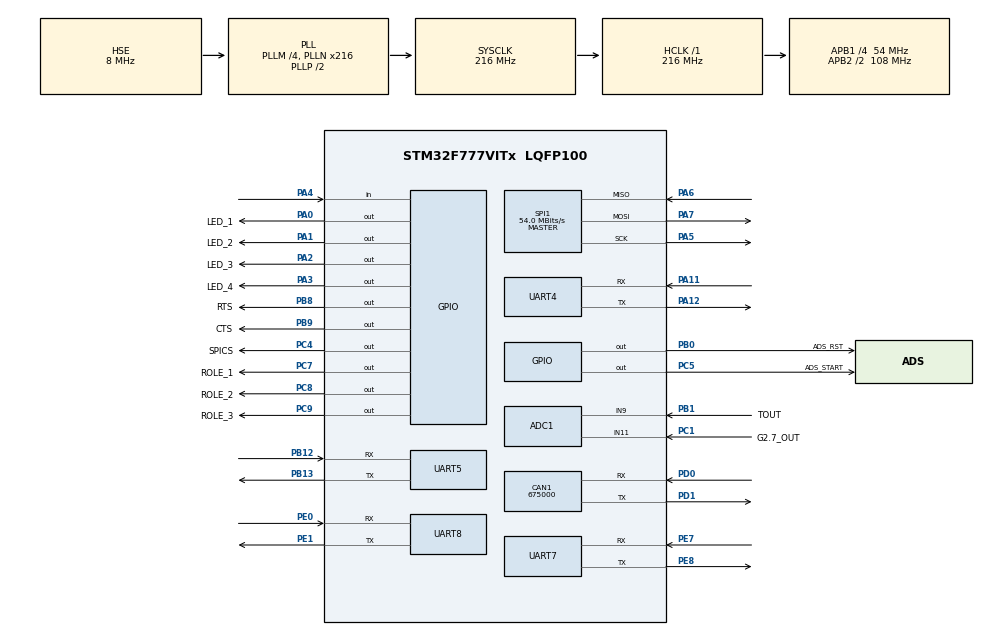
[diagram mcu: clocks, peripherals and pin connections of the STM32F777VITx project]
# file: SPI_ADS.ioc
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ADC1.Channel-0\#ChannelRegularConversion=ADC_CHANNEL_11
ADC1.Channel-1\#ChannelRegularConversion=ADC_CHANNEL_9
ADC1.ContinuousConvMode=ENABLE
ADC1.DMAContinuousRequests=ENABLE
ADC1.NbrOfConversion=2
ADC1.NbrOfConversionFlag=1
ADC1.Rank-0\#ChannelRegularConversion=1
ADC1.Rank-1\#ChannelRegularConversion=2
ADC1.SamplingTime-0\#ChannelRegularConversion=ADC_SAMPLETIME_480CYCLES
ADC1.SamplingTime-1\#ChannelRegularConversion=ADC_SAMPLETIME_480CYCLES
ADC1.ScanConvMode=ADC_SCAN_ENABLE
ADC1.master=1
CAN1.BS1=CAN_BS1_2TQ
CAN1.BS2=CAN_BS2_2TQ
CAN1.CalculateBaudRate=675000
CAN1.CalculateTimeBit=1481.48
CAN1.CalculateTimeQuantum=296.2962962962963
Dma.ADC1.0.Direction=DMA_PERIPH_TO_MEMORY
Dma.ADC1.0.FIFOMode=DMA_FIFOMODE_DISABLE
Dma.ADC1.0.Instance=DMA2_Stream0
Dma.ADC1.0.MemDataAlignment=DMA_MDATAALIGN_WORD
Dma.ADC1.0.MemInc=DMA_MINC_ENABLE
Dma.ADC1.0.Mode=DMA_CIRCULAR
Dma.ADC1.0.PeriphDataAlignment=DMA_PDATAALIGN_WORD
Dma.ADC1.0.PeriphInc=DMA_PINC_DISABLE
Dma.ADC1.0.Priority=DMA_PRIORITY_LOW
Dma.Request0=ADC1
Mcu.Family=STM32F7
Mcu.Name=STM32F777VITx
Mcu.Package=LQFP100
NVIC.DMA2_Stream0_IRQn=true\:0\:0\:false\:false\:true\:false\:true
NVIC.PriorityGroup=NVIC_PRIORITYGROUP_4
PA0/WKUP.GPIO_Label=LED_1
PA0/WKUP.Signal=GPIO_Output
PA1.GPIO_Label=LED_2
PA1.Signal=GPIO_Output
PA11.Mode=Asynchronous
PA11.Signal=UART4_RX
PA12.Mode=Asynchronous
PA12.Signal=UART4_TX
PA13.Mode=Serial_Wire
PA13.Signal=SYS_JTMS-SWDIO
PA14.Mode=Serial_Wire
PA14.Signal=SYS_JTCK-SWCLK
PA2.GPIO_Label=LED_3
PA2.Signal=GPIO_Output
PA3.GPIO_Label=LED_4
PA3.Signal=GPIO_Output
PA4.Signal=GPIO_Input
PA5.Mode=Full_Duplex_Master
PA5.Signal=SPI1_SCK
PA6.Mode=Full_Duplex_Master
PA6.Signal=SPI1_MISO
PA7.Mode=Full_Duplex_Master
PA7.Signal=SPI1_MOSI
PB0.GPIO_Label=ADS_RST
PB0.Signal=GPIO_Output
PB1.GPIO_Label=TOUT
PB1.Signal=ADCx_IN9
PB12.Mode=Asynchronous
PB12.Signal=UART5_RX
PB13.Mode=Asynchronous
PB13.Signal=UART5_TX
PB8.GPIO_Label=RTS
PB8.Signal=GPIO_Output
PB9.GPIO_Label=CTS
PB9.Signal=GPIO_Output
PC1.GPIO_Label=G2.7_OUT
PC1.Signal=ADCx_IN11
PC4.GPIO_Label=SPICS
PC4.Signal=GPIO_Output
PC5.GPIO_Label=ADS_START
PC5.Signal=GPIO_Output
PC7.GPIO_Label=ROLE_1
PC7.Signal=GPIO_Output
PC8.GPIO_Label=ROLE_2
PC8.Signal=GPIO_Output
PC9.GPIO_Label=ROLE_3
PC9.Signal=GPIO_Output
PD0.Mode=CAN_Activate
PD0.Signal=CAN1_RX
PD1.Mode=CAN_Activate
PD1.Signal=CAN1_TX
PE0.Mode=Asynchronous
PE0.Signal=UART8_RX
PE1.Mode=Asynchronous
PE1.Signal=UART8_TX
PE7.Mode=Asynchronous
PE7.Signal=UART7_RX
PE8.Mode=Asynchronous
PE8.Signal=UART7_TX
PH0/OSC_IN.Mode=HSE-External-Oscillator
PH0/OSC_IN.Signal=RCC_OSC_IN
PH1/OSC_OUT.Mode=HSE-External-Oscillator
PH1/OSC_OUT.Signal=RCC_OSC_OUT
ProjectManager.HeapSize=0x200
ProjectManager.StackSize=0x400
ProjectManager.TargetToolchain=STM32CubeIDE
RCC.AHBFreq_Value=216000000
RCC.APB1CLKDivider=RCC_HCLK_DIV4
RCC.APB1Freq_Value=54000000
RCC.APB1TimFreq_Value=108000000
RCC.APB2CLKDivider=RCC_HCLK_DIV2
RCC.APB2Freq_Value=108000000
RCC.APB2TimFreq_Value=216000000
RCC.CortexFreq_Value=216000000
RCC.HCLKFreq_Value=216000000
RCC.HSE_VALUE=8000000
RCC.HSI_VALUE=16000000
RCC.LSE_VALUE=32768
RCC.PLLM=4
RCC.PLLN=216
RCC.PLLSourceVirtual=RCC_PLLSOURCE_HSE
RCC.SYSCLKFreq_VALUE=216000000
RCC.SYSCLKSource=RCC_SYSCLKSOURCE_PLLCLK
RCC.USBFreq_Value=216000000
RCC.VCOOutputFreq_Value=432000000
RTC.Format=RTC_FORMAT_BIN
RTC.Hours=0
RTC.Minutes=0
RTC.Seconds=0
RTC.Year=20
SH.ADCx_IN11.0=ADC1_IN11,IN11
SH.ADCx_IN9.0=ADC1_IN9,IN9
SPI1.BaudRatePrescaler=SPI_BAUDRATEPRESCALER_2
SPI1.CalculateBaudRate=54.0 MBits/s
SPI1.DataSize=SPI_DATASIZE_8BIT
SPI1.Direction=SPI_DIRECTION_2LINES
SPI1.Mode=SPI_MODE_MASTER
SPI1.VirtualType=VM_MASTER
VP_RTC_VS_RTC_Activate.Mode=RTC_Enabled
VP_RTC_VS_RTC_Calendar.Mode=RTC_Calendar
board=custom

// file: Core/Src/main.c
/* USER CODE BEGIN Header */
/**
  ******************************************************************************
  * @file           : main.c
  * @brief          : Main program body
  ******************************************************************************
  * @attention
  *
  * <h2><center>&copy; Copyright (c) 2020 STMicroelectronics.
  * All rights reserved.</center></h2>
  *
  * This software component is licensed by ST under BSD 3-Clause license,
  * the "License"; You may not use this file except in compliance with the
  * License. You may obtain a copy of the License at:
  *                        opensource.org/licenses/BSD-3-Clause
  *
  ******************************************************************************
  */
/* USER CODE END Header */
#include "main.h"

ADC_HandleTypeDef hadc1;
DMA_HandleTypeDef hdma_adc1;

CAN_HandleTypeDef hcan1;

RTC_HandleTypeDef hrtc;

SPI_HandleTypeDef hspi1;

UART_HandleTypeDef huart4;
UART_HandleTypeDef huart5;
UART_HandleTypeDef huart7;
UART_HandleTypeDef huart8;

void SystemClock_Config(void);
static void MX_GPIO_Init(void);
static void MX_DMA_Init(void);
static void MX_ADC1_Init(void);
static void MX_CAN1_Init(void);
static void MX_SPI1_Init(void);
static void MX_UART4_Init(void);
static void MX_UART5_Init(void);
static void MX_UART7_Init(void);
static void MX_UART8_Init(void);
static void MX_RTC_Init(void);

int main(void)
{
  /* USER CODE BEGIN 1 */
uint8_t CONFIG0 = 0x80; /* 10000000 BİT 0 2 5 4 RBIAS?   */

uint8_t CONFIG1 = 0x48;      /* 01001011 3 2 7 ? */

uint8_t CONFIG2 = 0x40;           /* 01000000 */

uint32_t GerSic[2]; // gerilim ve sıcaklık adcleri

uint8_t RXADS[4];
float Gerilim, ShuntSicaklik; //gerilim bölücü gerilimi ve shunt direnc sıcaklığı
int BataryaSicaklik[16],MaxSic; // tüm sıcaklık sersörlerini karşılaştırma
int DRDY;
int ChecksumGelen, ChecksumBulunan,ADSGelenVeri,PreCurrent;
float Current;
RTC_TimeTypeDef sTime;
RTC_DateTypeDef sDate;
uint32_t milisaniye,saniye,dakika,saat,msara,mstoplam,msson;
float Toplam_Tuketim,Ara_Tuketim;
#define C_DS 2500 //DATASHEET E GÖRE HESAPLANACAK
#define nC 100 // CHARGE MODUNDA KATSAYI ŞARJ VERİMLİLİĞİ = 	Cdischarge , rate min / Ccharge , rate max
#define nD 100 // DISCHARGE MODUNDA KATSAYI DISCHARGE VERİMLİLİĞİ = I1T1 + I2T2 / Cmax
float DoD, DDoD,ilkDoD,SOC,SOH;
#define Vmin 100
#define Vmax 135
  /* USER CODE END 1 */

  /* MCU Configuration--------------------------------------------------------*/

  /* Reset of all peripherals, Initializes the Flash interface and the Systick. */
  HAL_Init();

  /* USER CODE BEGIN Init */

HAL_ADC_Start_DMA(&hadc1, GerSic, 2); // dma ile adc başlatıldı

uint8_t calcChecksum(uint8_t* data, uint32_t length) //ADS için checksum function
{
uint32_t result = 0;
uint32_t i;
for(i = 0; i < length; i++)
result += data[i]; // Add conversion data bytes together
result += 0x9B; // Add constant
return (uint8_t) result;
}

void CapasityCalc()
{
	       HAL_RTC_GetTime(&hrtc,&sTime,RTC_FORMAT_BIN);
			HAL_RTC_GetDate(&hrtc,&sDate,RTC_FORMAT_BIN); // Tarih ile ilgili çalisma yapilmasa dahi eklenmesi gereklidir.

			milisaniye=sTime.SubSeconds;
			saniye=sTime.Seconds;
			dakika=sTime.Minutes;
			saat=sTime.Hours;
			mstoplam=milisaniye+saniye*1000+dakika*60000+saat*3600000; //toplam süre milisaniyeye çevirildi
			msara=mstoplam-msson; // geçen süre hesaplandı

			msson=mstoplam;
			Ara_Tuketim=Current*Gerilim*msara; // anlık tüketim hesaplandı
			Toplam_Tuketim+=Ara_Tuketim;
			Toplam_Tuketim=Toplam_Tuketim/3600000; // watt/hour (Delta DoD)

}

void GerilimHesap() // batarya geriliminin hesaplandığı fonksiyon
{
Gerilim=GerSic[0]*0.0008056640625; //adc değerini gerilime çevirdik
Gerilim*=41.00041; // gerilim bölücü oranı ile çarparak gerçek değeri elde ettik

}

void Sicaklik() // shunt direncin sıcaklığını hesaplayan fonksiyon
{
	ShuntSicaklik=GerSic[1]*0.0008056640625; // adc değerini gerilime çevirdik
	ShuntSicaklik*=100; //dataheette gerek sıcaklık değeri için 100 çarpılması gerek

}

void ADSRead() // adsden akım verisi okuma
{
	DRDY= HAL_GPIO_ReadPin(GPIOA, GPIO_PIN_4);
	if (DRDY=0)
	{
		HAL_GPIO_WritePin(GPIOC, GPIO_PIN_4, GPIO_PIN_RESET); //CS LOJIK 0
		HAL_SPI_Receive(&hspi1, RXADS, 4, 100);               // SPI DAN AKIM VERİSİ ALDIK
		HAL_GPIO_WritePin(GPIOC, GPIO_PIN_4, GPIO_PIN_SET);   //CS LOJIK 1
	}
}

void ADSChecksumControl ()
{
 ChecksumGelen= RXADS[3];
 ADSGelenVeri= (int) RXADS[0]*100+ (int) RXADS[1]*10+ (int) RXADS[2];
 ChecksumBulunan= calcChecksum(ADSGelenVeri, 3);
if (ChecksumBulunan == ChecksumGelen)
{
	PreCurrent= ADSGelenVeri;
}
}
void Res()
{
	//res sıcaklığa göre ayarlanacak
}

void CalcCurrentVal ()
{
	Current=PreCurrent/100 ; // I = V/R

}

void CalcSOC()
{

 DDoD=Toplam_Tuketim*100/C_DS;
 if (Current>0) // dıscharge
 {
	 if (Gerilim<=Vmin)
	 {
		 HAL_GPIO_WritePin(GPIOC, GPIO_PIN_8, GPIO_PIN_SET);

	 }

	 else if (Gerilim> Vmin)
	 {
		 DoD=ilkDoD+ nD*DDoD;
         SOC=SOH - DoD;
	 }

 }
 else if (Current<0) //charge
 {

	 if(Gerilim== Vmax)
	 {
		 SOH=SOC-DoD;

	 }
	 else if (Gerilim<=Vmax)
	 {
		 DoD=ilkDoD+ nC*DDoD;
		 SOC=SOH-DoD;
	 }
 }

 SOC=SOH-DoD;
}

 void MaxBataryaSicaklik() //interrupt ile yapılacak

 {

	 for(int i=1; i<16; i++){

		 MaxSic = BataryaSicaklik[0];       //ilk sıcaklık max sıcaklık olur
		 if (MaxSic<BataryaSicaklik[i])     //eğer sonraki sıcaklık öncekinden büyükse maxsıc büyük değer olur
		 {

		    MaxSic=BataryaSicaklik[i];

		 }
	 }

	 if (MaxSic>=55)
	 {
		 HAL_GPIO_WritePin(GPIOC, GPIO_PIN_7, GPIO_PIN_SET); //SICAKLIK 55 İ GEÇTİ�?İNDE BUZZER ÇALI�?IR
	 }
	 else if (MaxSic>=70)
	 {
		 HAL_GPIO_WritePin(GPIOC, GPIO_PIN_8, GPIO_PIN_SET); //SICAKLIK 70 İ GEÇTİ�?İNDE ARAÇ KAPANIR
	 }
	 else if (MaxSic<55)
	 {
		 HAL_GPIO_WritePin(GPIOC, GPIO_PIN_7 | GPIO_PIN_8, GPIO_PIN_RESET); //SICAKLIK 55 DEN KÜÇÜKSE RÖLELER KAPALI
	 }
 }

  /* USER CODE END Init */

  /* Configure the system clock */
  SystemClock_Config();

  /* Initialize all configured peripherals */
  MX_GPIO_Init();
  MX_DMA_Init();
  MX_ADC1_Init();
  MX_CAN1_Init();
  MX_SPI1_Init();
  MX_UART4_Init();
  MX_UART5_Init();
  MX_UART7_Init();
  MX_UART8_Init();
  MX_RTC_Init();
  /* USER CODE BEGIN 2 */

  HAL_GPIO_WritePin(GPIOC, GPIO_PIN_5, GPIO_PIN_SET); // ADS START
  msson=0;//son süreyi sıfıra eşitledik

 HAL_GPIO_WritePin(GPIOC, GPIO_PIN_4, GPIO_PIN_RESET);

HAL_SPI_Transmit(&hspi1, &CONFIG0, 1, 100); //ADS CONFIG0 YAPILDI
HAL_SPI_Transmit(&hspi1, &CONFIG1, 1, 100); //ADS CONFIG1 YAPILDI
HAL_SPI_Transmit(&hspi1, &CONFIG2, 1, 100); //ADS CONFIG2 YAPILDI

HAL_GPIO_WritePin(GPIOC, GPIO_PIN_4, GPIO_PIN_SET);

//BQ CONFIG YAPILACAK

  /* USER CODE END 2 */

  /* Infinite loop */
  while (1)
  {

    /* USER CODE BEGIN 3 */

	     //BQ DAN VERİLER ALINACAK

	  MaxBataryaSicaklik();
	  GerilimHesap();
	  ADSRead();
	  ADSChecksumControl();
	  Sicaklik();
	  Res();
	  CalcCurrentVal();
	  if (Current<0)
	  {
		  //hücre dengelemeleri yapılacak
	  }
	  CapasityCalc();
	  CalcSOC();

  }
  /* USER CODE END 3 */
}

void SystemClock_Config(void)
{
  RCC_OscInitTypeDef RCC_OscInitStruct = {0};
  RCC_ClkInitTypeDef RCC_ClkInitStruct = {0};
  RCC_PeriphCLKInitTypeDef PeriphClkInitStruct = {0};

  /** Configure the main internal regulator output voltage
  */
  __HAL_RCC_PWR_CLK_ENABLE();
  __HAL_PWR_VOLTAGESCALING_CONFIG(PWR_REGULATOR_VOLTAGE_SCALE1);
  /** Initializes the RCC Oscillators according to the specified parameters
  * in the RCC_OscInitTypeDef structure.
  */
  RCC_OscInitStruct.OscillatorType = RCC_OSCILLATORTYPE_LSI|RCC_OSCILLATORTYPE_HSE;
  RCC_OscInitStruct.HSEState = RCC_HSE_ON;
  RCC_OscInitStruct.LSIState = RCC_LSI_ON;
  RCC_OscInitStruct.PLL.PLLState = RCC_PLL_ON;
  RCC_OscInitStruct.PLL.PLLSource = RCC_PLLSOURCE_HSE;
  RCC_OscInitStruct.PLL.PLLM = 4;
  RCC_OscInitStruct.PLL.PLLN = 216;
  RCC_OscInitStruct.PLL.PLLP = RCC_PLLP_DIV2;
  RCC_OscInitStruct.PLL.PLLQ = 2;
  if (HAL_RCC_OscConfig(&RCC_OscInitStruct) != HAL_OK)
  {
    Error_Handler();
  }
  /** Activate the Over-Drive mode
  */
  if (HAL_PWREx_EnableOverDrive() != HAL_OK)
  {
    Error_Handler();
  }
  /** Initializes the CPU, AHB and APB buses clocks
  */
  RCC_ClkInitStruct.ClockType = RCC_CLOCKTYPE_HCLK|RCC_CLOCKTYPE_SYSCLK
                              |RCC_CLOCKTYPE_PCLK1|RCC_CLOCKTYPE_PCLK2;
  RCC_ClkInitStruct.SYSCLKSource = RCC_SYSCLKSOURCE_PLLCLK;
  RCC_ClkInitStruct.AHBCLKDivider = RCC_SYSCLK_DIV1;
  RCC_ClkInitStruct.APB1CLKDivider = RCC_HCLK_DIV4;
  RCC_ClkInitStruct.APB2CLKDivider = RCC_HCLK_DIV2;

  if (HAL_RCC_ClockConfig(&RCC_ClkInitStruct, FLASH_LATENCY_7) != HAL_OK)
  {
    Error_Handler();
  }
  PeriphClkInitStruct.PeriphClockSelection = RCC_PERIPHCLK_RTC|RCC_PERIPHCLK_UART4
                              |RCC_PERIPHCLK_UART5|RCC_PERIPHCLK_UART7
                              |RCC_PERIPHCLK_UART8;
  PeriphClkInitStruct.RTCClockSelection = RCC_RTCCLKSOURCE_LSI;
  PeriphClkInitStruct.Uart4ClockSelection = RCC_UART4CLKSOURCE_PCLK1;
  PeriphClkInitStruct.Uart5ClockSelection = RCC_UART5CLKSOURCE_PCLK1;
  PeriphClkInitStruct.Uart7ClockSelection = RCC_UART7CLKSOURCE_PCLK1;
  PeriphClkInitStruct.Uart8ClockSelection = RCC_UART8CLKSOURCE_PCLK1;
  if (HAL_RCCEx_PeriphCLKConfig(&PeriphClkInitStruct) != HAL_OK)
  {
    Error_Handler();
  }
}

static void MX_ADC1_Init(void)
{

  ADC_ChannelConfTypeDef sConfig = {0};

  /** Configure the global features of the ADC (Clock, Resolution, Data Alignment and number of conversion)
  */
  hadc1.Instance = ADC1;
  hadc1.Init.ClockPrescaler = ADC_CLOCK_SYNC_PCLK_DIV4;
  hadc1.Init.Resolution = ADC_RESOLUTION_12B;
  hadc1.Init.ScanConvMode = ADC_SCAN_ENABLE;
  hadc1.Init.ContinuousConvMode = ENABLE;
  hadc1.Init.DiscontinuousConvMode = DISABLE;
  hadc1.Init.ExternalTrigConvEdge = ADC_EXTERNALTRIGCONVEDGE_NONE;
  hadc1.Init.ExternalTrigConv = ADC_SOFTWARE_START;
  hadc1.Init.DataAlign = ADC_DATAALIGN_RIGHT;
  hadc1.Init.NbrOfConversion = 2;
  hadc1.Init.DMAContinuousRequests = ENABLE;
  hadc1.Init.EOCSelection = ADC_EOC_SINGLE_CONV;
  if (HAL_ADC_Init(&hadc1) != HAL_OK)
  {
    Error_Handler();
  }
  /** Configure for the selected ADC regular channel its corresponding rank in the sequencer and its sample time.
  */
  sConfig.Channel = ADC_CHANNEL_11;
  sConfig.Rank = ADC_REGULAR_RANK_1;
  sConfig.SamplingTime = ADC_SAMPLETIME_480CYCLES;
  if (HAL_ADC_ConfigChannel(&hadc1, &sConfig) != HAL_OK)
  {
    Error_Handler();
  }
  /** Configure for the selected ADC regular channel its corresponding rank in the sequencer and its sample time.
  */
  sConfig.Channel = ADC_CHANNEL_9;
  sConfig.Rank = ADC_REGULAR_RANK_2;
  if (HAL_ADC_ConfigChannel(&hadc1, &sConfig) != HAL_OK)
  {
    Error_Handler();
  }

}

static void MX_CAN1_Init(void)
{

  hcan1.Instance = CAN1;
  hcan1.Init.Prescaler = 16;
  hcan1.Init.Mode = CAN_MODE_NORMAL;
  hcan1.Init.SyncJumpWidth = CAN_SJW_1TQ;
  hcan1.Init.TimeSeg1 = CAN_BS1_2TQ;
  hcan1.Init.TimeSeg2 = CAN_BS2_2TQ;
  hcan1.Init.TimeTriggeredMode = DISABLE;
  hcan1.Init.AutoBusOff = DISABLE;
  hcan1.Init.AutoWakeUp = DISABLE;
  hcan1.Init.AutoRetransmission = DISABLE;
  hcan1.Init.ReceiveFifoLocked = DISABLE;
  hcan1.Init.TransmitFifoPriority = DISABLE;
  if (HAL_CAN_Init(&hcan1) != HAL_OK)
  {
    Error_Handler();
  }

}

static void MX_RTC_Init(void)
{

  RTC_TimeTypeDef sTime = {0};
  RTC_DateTypeDef sDate = {0};

  /** Initialize RTC Only
  */
  hrtc.Instance = RTC;
  hrtc.Init.HourFormat = RTC_HOURFORMAT_24;
  hrtc.Init.AsynchPrediv = 127;
  hrtc.Init.SynchPrediv = 255;
  hrtc.Init.OutPut = RTC_OUTPUT_DISABLE;
  hrtc.Init.OutPutPolarity = RTC_OUTPUT_POLARITY_HIGH;
  hrtc.Init.OutPutType = RTC_OUTPUT_TYPE_OPENDRAIN;
  if (HAL_RTC_Init(&hrtc) != HAL_OK)
  {
    Error_Handler();
  }

  /** Initialize RTC and set the Time and Date
  */
  sTime.Hours = 0;
  sTime.Minutes = 0;
  sTime.Seconds = 0;
  sTime.DayLightSaving = RTC_DAYLIGHTSAVING_NONE;
  sTime.StoreOperation = RTC_STOREOPERATION_RESET;
  if (HAL_RTC_SetTime(&hrtc, &sTime, RTC_FORMAT_BIN) != HAL_OK)
  {
    Error_Handler();
  }
  sDate.WeekDay = RTC_WEEKDAY_MONDAY;
  sDate.Month = RTC_MONTH_JANUARY;
  sDate.Date = 1;
  sDate.Year = 20;

  if (HAL_RTC_SetDate(&hrtc, &sDate, RTC_FORMAT_BIN) != HAL_OK)
  {
    Error_Handler();
  }

}

static void MX_SPI1_Init(void)
{

  /* SPI1 parameter configuration*/
  hspi1.Instance = SPI1;
  hspi1.Init.Mode = SPI_MODE_MASTER;
  hspi1.Init.Direction = SPI_DIRECTION_2LINES;
  hspi1.Init.DataSize = SPI_DATASIZE_8BIT;
  hspi1.Init.CLKPolarity = SPI_POLARITY_LOW;
  hspi1.Init.CLKPhase = SPI_PHASE_1EDGE;
  hspi1.Init.NSS = SPI_NSS_SOFT;
  hspi1.Init.BaudRatePrescaler = SPI_BAUDRATEPRESCALER_2;
  hspi1.Init.FirstBit = SPI_FIRSTBIT_MSB;
  hspi1.Init.TIMode = SPI_TIMODE_DISABLE;
  hspi1.Init.CRCCalculation = SPI_CRCCALCULATION_DISABLE;
  hspi1.Init.CRCPolynomial = 7;
  hspi1.Init.CRCLength = SPI_CRC_LENGTH_DATASIZE;
  hspi1.Init.NSSPMode = SPI_NSS_PULSE_ENABLE;
  if (HAL_SPI_Init(&hspi1) != HAL_OK)
  {
    Error_Handler();
  }

}

static void MX_UART4_Init(void)
{

  huart4.Instance = UART4;
  huart4.Init.BaudRate = 115200;
  huart4.Init.WordLength = UART_WORDLENGTH_8B;
  huart4.Init.StopBits = UART_STOPBITS_1;
  huart4.Init.Parity = UART_PARITY_NONE;
  huart4.Init.Mode = UART_MODE_TX_RX;
  huart4.Init.HwFlowCtl = UART_HWCONTROL_NONE;
  huart4.Init.OverSampling = UART_OVERSAMPLING_16;
  huart4.Init.OneBitSampling = UART_ONE_BIT_SAMPLE_DISABLE;
  huart4.AdvancedInit.AdvFeatureInit = UART_ADVFEATURE_NO_INIT;
  if (HAL_UART_Init(&huart4) != HAL_OK)
  {
    Error_Handler();
  }

}

static void MX_UART5_Init(void)
{

  huart5.Instance = UART5;
  huart5.Init.BaudRate = 115200;
  huart5.Init.WordLength = UART_WORDLENGTH_8B;
  huart5.Init.StopBits = UART_STOPBITS_1;
  huart5.Init.Parity = UART_PARITY_NONE;
  huart5.Init.Mode = UART_MODE_TX_RX;
  huart5.Init.HwFlowCtl = UART_HWCONTROL_NONE;
  huart5.Init.OverSampling = UART_OVERSAMPLING_16;
  huart5.Init.OneBitSampling = UART_ONE_BIT_SAMPLE_DISABLE;
  huart5.AdvancedInit.AdvFeatureInit = UART_ADVFEATURE_NO_INIT;
  if (HAL_UART_Init(&huart5) != HAL_OK)
  {
    Error_Handler();
  }

}

static void MX_UART7_Init(void)
{

  huart7.Instance = UART7;
  huart7.Init.BaudRate = 115200;
  huart7.Init.WordLength = UART_WORDLENGTH_8B;
  huart7.Init.StopBits = UART_STOPBITS_1;
  huart7.Init.Parity = UART_PARITY_NONE;
  huart7.Init.Mode = UART_MODE_TX_RX;
  huart7.Init.HwFlowCtl = UART_HWCONTROL_NONE;
  huart7.Init.OverSampling = UART_OVERSAMPLING_16;
  huart7.Init.OneBitSampling = UART_ONE_BIT_SAMPLE_DISABLE;
  huart7.AdvancedInit.AdvFeatureInit = UART_ADVFEATURE_NO_INIT;
  if (HAL_UART_Init(&huart7) != HAL_OK)
  {
    Error_Handler();
  }

}

static void MX_UART8_Init(void)
{

  huart8.Instance = UART8;
  huart8.Init.BaudRate = 115200;
  huart8.Init.WordLength = UART_WORDLENGTH_8B;
  huart8.Init.StopBits = UART_STOPBITS_1;
  huart8.Init.Parity = UART_PARITY_NONE;
  huart8.Init.Mode = UART_MODE_TX_RX;
  huart8.Init.HwFlowCtl = UART_HWCONTROL_NONE;
  huart8.Init.OverSampling = UART_OVERSAMPLING_16;
  huart8.Init.OneBitSampling = UART_ONE_BIT_SAMPLE_DISABLE;
  huart8.AdvancedInit.AdvFeatureInit = UART_ADVFEATURE_NO_INIT;
  if (HAL_UART_Init(&huart8) != HAL_OK)
  {
    Error_Handler();
  }

}

static void MX_DMA_Init(void)
{

  /* DMA controller clock enable */
  __HAL_RCC_DMA2_CLK_ENABLE();

  /* DMA interrupt init */
  /* DMA2_Stream0_IRQn interrupt configuration */
  HAL_NVIC_SetPriority(DMA2_Stream0_IRQn, 0, 0);
  HAL_NVIC_EnableIRQ(DMA2_Stream0_IRQn);

}

static void MX_GPIO_Init(void)
{
  GPIO_InitTypeDef GPIO_InitStruct = {0};

  /* GPIO Ports Clock Enable */
  __HAL_RCC_GPIOH_CLK_ENABLE();
  __HAL_RCC_GPIOC_CLK_ENABLE();
  __HAL_RCC_GPIOA_CLK_ENABLE();
  __HAL_RCC_GPIOB_CLK_ENABLE();
  __HAL_RCC_GPIOE_CLK_ENABLE();
  __HAL_RCC_GPIOD_CLK_ENABLE();

  /*Configure GPIO pin Output Level */
  HAL_GPIO_WritePin(GPIOA, LED_1_Pin|LED_2_Pin|LED_3_Pin|LED_4_Pin, GPIO_PIN_RESET);

  /*Configure GPIO pin Output Level */
  HAL_GPIO_WritePin(GPIOC, SPICS_Pin|ADS_START_Pin|ROLE_1_Pin|ROLE_2_Pin
                          |ROLE_3_Pin, GPIO_PIN_RESET);

  /*Configure GPIO pin Output Level */
  HAL_GPIO_WritePin(GPIOB, ADS_RST_Pin|RTS_Pin|CTS_Pin, GPIO_PIN_RESET);

  /*Configure GPIO pins : LED_1_Pin LED_2_Pin LED_3_Pin LED_4_Pin */
  GPIO_InitStruct.Pin = LED_1_Pin|LED_2_Pin|LED_3_Pin|LED_4_Pin;
  GPIO_InitStruct.Mode = GPIO_MODE_OUTPUT_PP;
  GPIO_InitStruct.Pull = GPIO_NOPULL;
  GPIO_InitStruct.Speed = GPIO_SPEED_FREQ_LOW;
  HAL_GPIO_Init(GPIOA, &GPIO_InitStruct);

  /*Configure GPIO pin : PA4 */
  GPIO_InitStruct.Pin = GPIO_PIN_4;
  GPIO_InitStruct.Mode = GPIO_MODE_INPUT;
  GPIO_InitStruct.Pull = GPIO_NOPULL;
  HAL_GPIO_Init(GPIOA, &GPIO_InitStruct);

  /*Configure GPIO pins : SPICS_Pin ADS_START_Pin ROLE_1_Pin ROLE_2_Pin
                           ROLE_3_Pin */
  GPIO_InitStruct.Pin = SPICS_Pin|ADS_START_Pin|ROLE_1_Pin|ROLE_2_Pin
                          |ROLE_3_Pin;
  GPIO_InitStruct.Mode = GPIO_MODE_OUTPUT_PP;
  GPIO_InitStruct.Pull = GPIO_NOPULL;
  GPIO_InitStruct.Speed = GPIO_SPEED_FREQ_LOW;
  HAL_GPIO_Init(GPIOC, &GPIO_InitStruct);

  /*Configure GPIO pins : ADS_RST_Pin RTS_Pin CTS_Pin */
  GPIO_InitStruct.Pin = ADS_RST_Pin|RTS_Pin|CTS_Pin;
  GPIO_InitStruct.Mode = GPIO_MODE_OUTPUT_PP;
  GPIO_InitStruct.Pull = GPIO_NOPULL;
  GPIO_InitStruct.Speed = GPIO_SPEED_FREQ_LOW;
  HAL_GPIO_Init(GPIOB, &GPIO_InitStruct);

}

void Error_Handler(void)
{
  __disable_irq();
  while (1)
  {
  }
}

/************************ (C) COPYRIGHT STMicroelectronics *****END OF FILE****/
